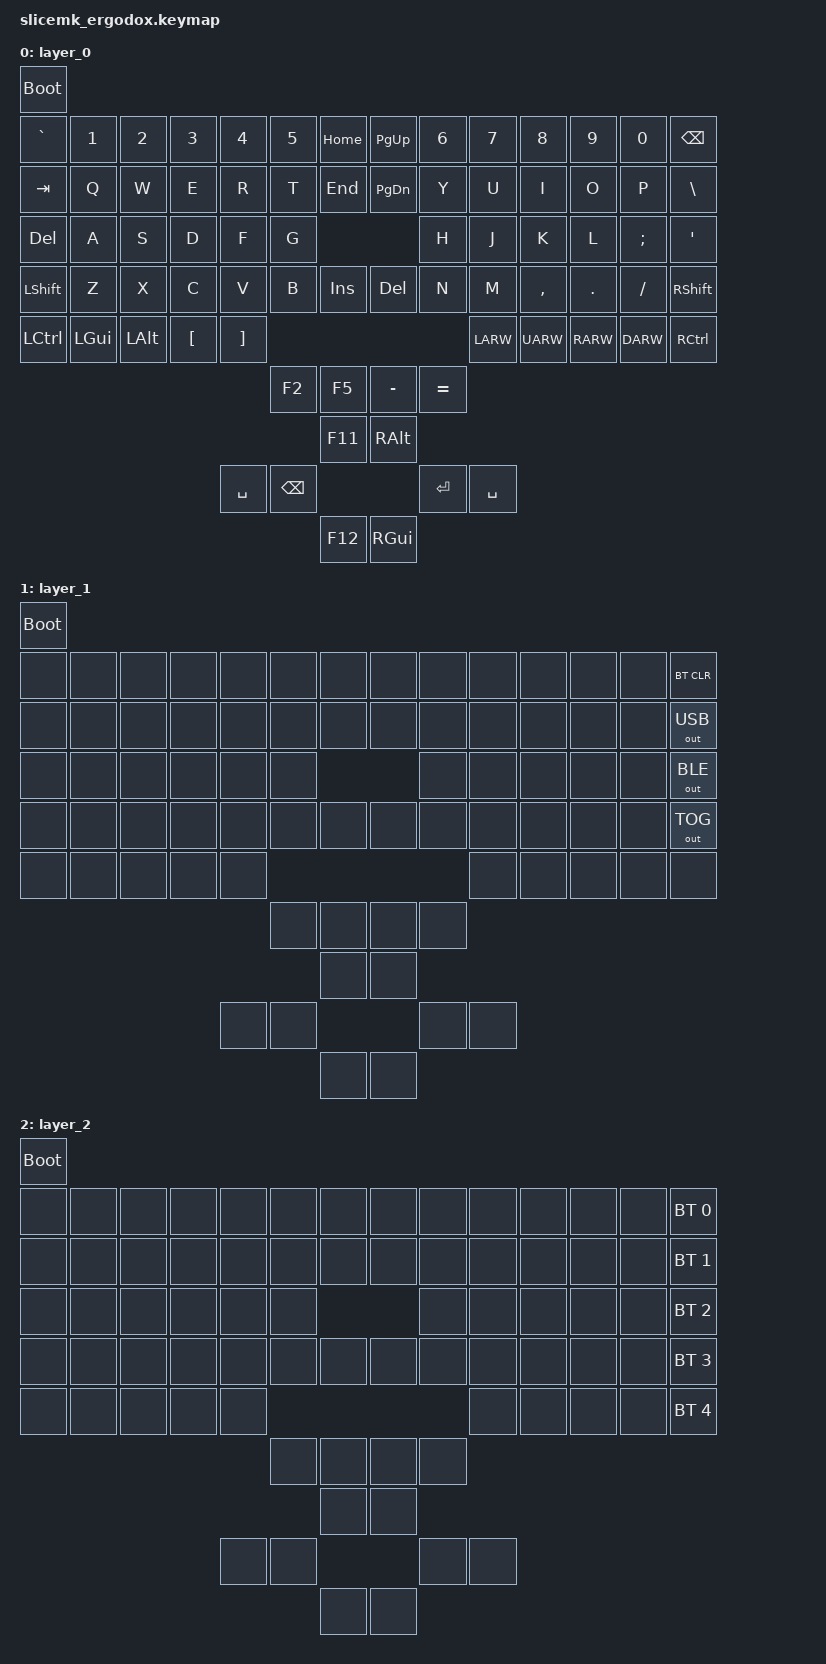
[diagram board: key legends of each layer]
#include <behaviors.dtsi>
#include <dt-bindings/zmk/bt.h>
#include <dt-bindings/zmk/keys.h>
#include <dt-bindings/zmk/outputs.h>

/ {
        keymap {
                compatible = "zmk,keymap";

                layer_0 {
                        bindings = <
    &bootloader
    &kp GRAV   &kp NUM_1  &kp NUM_2  &kp NUM_3  &kp NUM_4  &kp NUM_5  &kp HOME   &kp PG_UP  &kp NUM_6  &kp NUM_7  &kp NUM_8  &kp NUM_9  &kp NUM_0  &kp BSPC
    &kp TAB    &kp Q      &kp W      &kp E      &kp R      &kp T      &kp END    &kp PG_DN  &kp Y      &kp U      &kp I      &kp O      &kp P      &kp BSLH
    &kp DEL    &kp A      &kp S      &kp D      &kp F      &kp G                            &kp H      &kp J      &kp K      &kp L      &kp SEMI   &kp SQT
    &kp LSHFT  &kp Z      &kp X      &kp C      &kp V      &kp B      &kp INS    &kp DEL    &kp N      &kp M      &kp COMMA  &kp DOT    &kp FSLH   &kp RSHFT
    &kp LCTRL  &kp LGUI   &kp LALT   &kp LBKT   &kp RBKT                                               &kp LARW   &kp UARW   &kp RARW   &kp DARW   &kp RCTRL
                                                           &kp F2     &kp F5     &kp MINUS  &kp EQUAL
                                                                      &kp F11    &kp RALT
                                                &kp SPACE  &kp BSPC                         &kp RET    &kp SPACE
                                                                      &kp F12    &kp RGUI
                        >;
                };

                layer_1 {
                        bindings = <
    &bootloader
    &none      &none      &none      &none      &none      &none      &none      &none      &none      &none      &none      &none      &none      &bt BT_CLR
    &none      &none      &none      &none      &none      &none      &none      &none      &none      &none      &none      &none      &none      &out OUT_USB
    &none      &none      &none      &none      &none      &none                            &none      &none      &none      &none      &none      &out OUT_BLE
    &none      &none      &none      &none      &none      &none      &none      &none      &none      &none      &none      &none      &none      &out OUT_TOG
    &none      &none      &none      &none      &none                                                  &none      &none      &none      &none      &none
                                                           &none      &none      &none      &none
                                                                      &none      &none
                                                &none      &none                            &none      &none
                                                                      &none      &none
                        >;
                };

                layer_2 {
                        bindings = <
    &bootloader
    &none      &none      &none      &none      &none      &none      &none      &none      &none      &none      &none      &none      &none      &bt BT_SEL 0
    &none      &none      &none      &none      &none      &none      &none      &none      &none      &none      &none      &none      &none      &bt BT_SEL 1
    &none      &none      &none      &none      &none      &none                            &none      &none      &none      &none      &none      &bt BT_SEL 2
    &none      &none      &none      &none      &none      &none      &none      &none      &none      &none      &none      &none      &none      &bt BT_SEL 3
    &none      &none      &none      &none      &none                                                  &none      &none      &none      &none      &bt BT_SEL 4
                                                           &none      &none      &none      &none
                                                                      &none      &none
                                                &none      &none                            &none      &none
                                                                      &none      &none
                        >;
                };

        };
};
